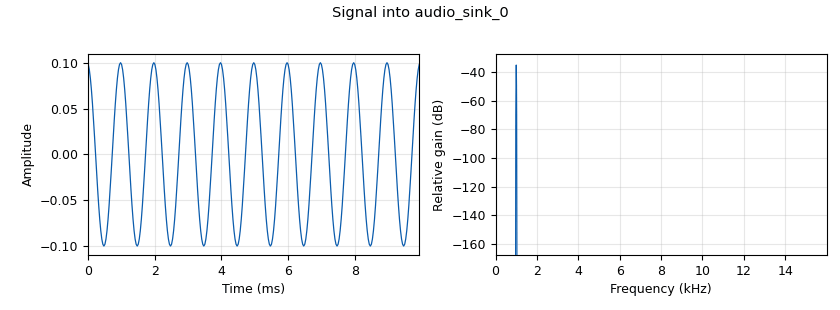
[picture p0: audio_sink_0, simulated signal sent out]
options:
  parameters:
    category: Custom
    generate_options: qt_gui
    id: top_block
    output_language: python
  states: {}

blocks:
- name: samp_rate
  id: variable
  parameters:
    value: '32000'
  states: {}
- name: analog_sig_source_x_0
  id: analog_sig_source_x
  parameters:
    amp: '0.1'
    freq: '1000'
    offset: '0'
    phase: '0'
    samp_rate: samp_rate
    type: float
    waveform: analog.GR_COS_WAVE
  states: {}
- name: audio_sink_0
  id: audio_sink
  parameters:
    samp_rate: samp_rate
  states: {}

connections:
- [analog_sig_source_x_0, '0', audio_sink_0, '0']

metadata:
  file_format: 1
  grc_version: 3.10.9.2
